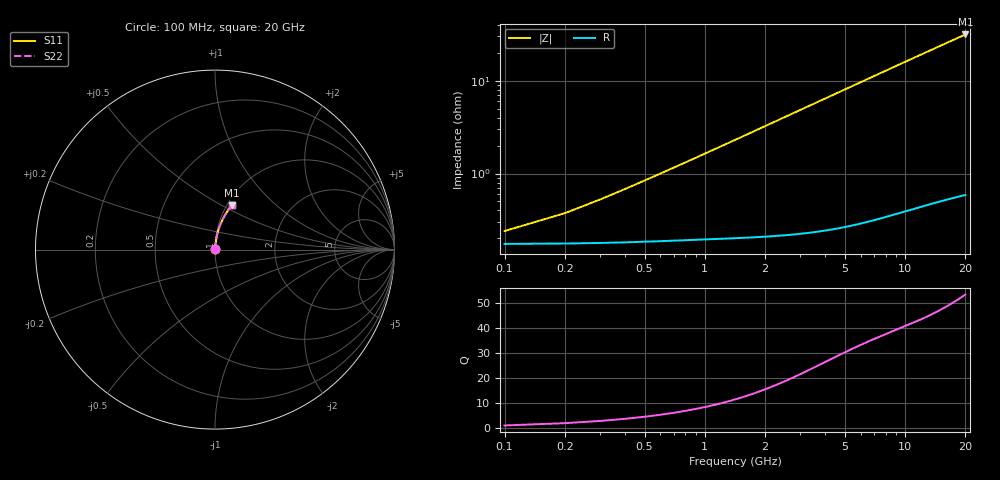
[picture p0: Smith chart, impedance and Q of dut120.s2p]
! Touchstone file exported from HFSS 2026.1.0
!  File:  C:/ffzhzh/LocalFiles/Ansys_Project_Files/temp_train_BSMRDL_120_1782986009_42984.aedt
!  Generated:  05:54:43 PM Jul  2, 2026
!  Design:  BSMRDL
!  Project:  temp_train_BSMRDL_120_1782986009_42984
! Variables:
!  h_bsmrdl = 3.56um
!  h_ox = 20um
!  h_rdl = 5um
!  h_sub = 80um
!  h_tmrdl = 5um
!  h_tsv = 80um
!  h_via = 3um
!  l_bsmrdl = 183.18um
!  l_sub = 583.18um
!  l_tmrdl = 200um
!  m_sub = 200um
!  pitch = 58.69um
!  r_tsv = 6um
!  s_tmrdl = 10um
!  w_bsmrdl = 11.39um
!  w_sub = 500um
!  w_tmrdl = 12um
!  x_tsv_center1 = 206um
!  x_tsv_center2 = 400.57um
!  x_tsv_center3 = 612.57um
!  x_tsv_center4 = 807.14um
!  x_tsv_center5 = 1019.14um
!  x_tsv_center6 = 1213.71um
# GHz S MA R 50.000000
! Terminal data exported
! Port[1] = BSM_RDL1_1_T1
! Port[2] = BSM_RDL1_1_T2
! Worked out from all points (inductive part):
!   200 points, 100 MHz to 20 GHz, reference 50 ohm
!   read as one part in series: L = 261 pH near 400 MHz
!   highest Q = 53.6 at 20 GHz (marker M1), where L = 250 pH
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0.1  0.002272 39.8  0.9983 -0.1  0.9983 -0.1  0.002272 39.8
! Gamma 0 0 0 0
! Port Impedance 50 0 50 0
0.2  0.003403 58.7  0.9982 -0.2  0.9982 -0.2  0.003403 58.7
0.3  0.00471 67.4  0.9982 -0.3  0.9982 -0.3  0.00471 67.4
0.4  0.006073 72.2  0.9982 -0.4  0.9982 -0.4  0.006073 72.2
0.5  0.007457 75.2  0.9981 -0.5  0.9981 -0.5  0.007456 75.2
0.6  0.008849 77.2  0.9981 -0.6  0.9981 -0.6  0.008849 77.2
0.8  0.01164 79.7  0.998 -0.8  0.998 -0.8  0.01164 79.7
1.1  0.01585 81.7  0.9979 -1.1  0.9979 -1.1  0.01585 81.7
1.5  0.02148 83.0  0.9978 -1.6  0.9978 -1.6  0.02148 83.0
1.8  0.0257 83.5  0.9976 -1.9  0.9976 -1.9  0.0257 83.5
2.1  0.02993 83.8  0.9975 -2.2  0.9975 -2.2  0.02993 83.8
2.7  0.03837 83.9  0.9971 -2.8  0.9971 -2.8  0.03837 83.9
3.5  0.04961 83.7  0.9964 -3.6  0.9964 -3.6  0.04961 83.7
4.2  0.05941 83.3  0.9958 -4.3  0.9958 -4.3  0.05941 83.3
5  0.07056 82.7  0.9949 -5.1  0.9949 -5.1  0.07056 82.7
5.9  0.08303 82.0  0.9937 -6.1  0.9937 -6.1  0.08303 82.0
6.8  0.09542 81.2  0.9924 -7.0  0.9924 -7.0  0.09542 81.2
8.3  0.1159 79.8  0.9898 -8.5  0.9898 -8.5  0.1159 79.8
10.1  0.14 78.1  0.9863 -10.3  0.9863 -10.3  0.14 78.1
13.4  0.1833 75.1  0.9785 -13.5  0.9785 -13.5  0.1833 75.1
16.7  0.2251 72.0  0.9692 -16.7  0.9692 -16.7  0.2251 72.0
20  0.2652 69.0  0.9586 -19.8  0.9586 -19.8  0.2652 69.0
